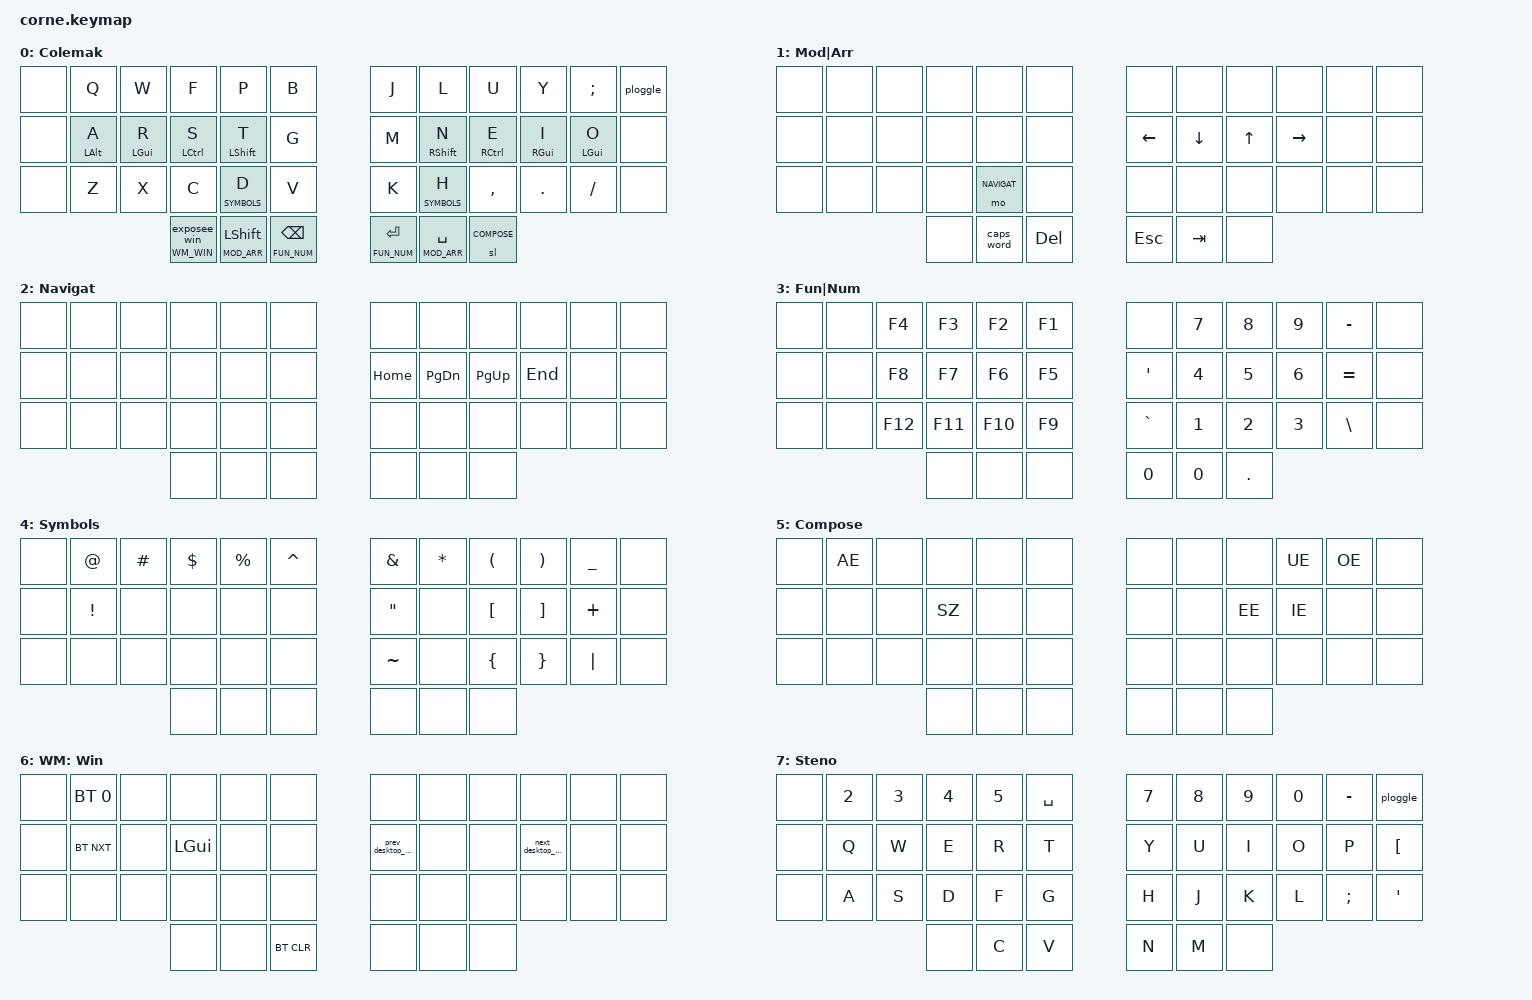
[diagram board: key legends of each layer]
/*
 * Copyright (c) 2020 The ZMK Contributors
 *
 * SPDX-License-Identifier: MIT
 */

#include <behaviors.dtsi>
#include <dt-bindings/zmk/keys.h>
#include <dt-bindings/zmk/bt.h>

// Layers
#define COLEMAK 0
#define MOD_ARR 1
#define NAVIGAT 2
#define FUN_NUM 3
#define SYMBOLS 4
#define COMPOSE 5
#define WM_WIN  6
#define STENO   7

// Keycodes
#define xxxxx &none

//  Layers
//    Left
#define LT_D &lt SYMBOLS D
#define LT_SFT &lsk MOD_ARR LSHFT
#define LT_BSPC &lt FUN_NUM BSPC
//    Right
#define LT_H &lt SYMBOLS H
#define LT_RET &lt FUN_NUM RET
#define LT_SPACE &lt MOD_ARR SPACE
#define LT_ESC &tyl COMPOSE ESC


&lt {
    quick-tap-ms = <300>;
};

&nice_view_spi {
    cs-gpios = <&pro_micro 1 GPIO_ACTIVE_HIGH>;
};

/ {
        macros {
            ZMK_MACRO(AE,
                wait-ms = <10>;
                tap-ms = <20>;
                bindings
                    = <&macro_press &kp RALT>
                    , <&macro_tap &kp Q>
                    , <&macro_release &kp RALT>
                    ;
            )

            ZMK_MACRO(SZ,
                wait-ms = <10>;
                tap-ms = <20>;
                bindings
                    = <&macro_press &kp RALT>
                    , <&macro_tap &kp S>
                    , <&macro_release &kp RALT>
                    ;
            )

            ZMK_MACRO(EE,
                wait-ms = <10>;
                tap-ms = <20>;
                bindings
                    = <&macro_press &kp RALT>
                    , <&macro_tap &kp E>
                    , <&macro_release &kp RALT>
                    ;
            )

            ZMK_MACRO(IE,
                wait-ms = <10>;
                tap-ms = <20>;
                bindings
                    = <&macro_press &kp RALT>
                    , <&macro_tap &kp I>
                    , <&macro_release &kp RALT>
                    ;
            )

            ZMK_MACRO(UE,
                wait-ms = <10>;
                tap-ms = <20>;
                bindings
                    = <&macro_press &kp RALT>
                    , <&macro_tap &kp Y>
                    , <&macro_release &kp RALT>
                    ;
            )

            ZMK_MACRO(OE,
                wait-ms = <10>;
                tap-ms = <20>;
                bindings
                    = <&macro_press &kp RALT>
                    , <&macro_tap &kp P>
                    , <&macro_release &kp RALT>
                    ;
            )

            ZMK_MACRO(ploggle,
                wait-ms = <10>;
                tap-ms = <20>;
                bindings
                    = <&tog STENO>
                    , <&macro_press &kp E &kp R &kp F &kp V &kp O &kp L>
                    , <&macro_release &kp E &kp R &kp F &kp V &kp O &kp L>
                    ;
            )

            exposee_win: wm_win_exposee {
                compatible = "zmk,behavior-macro";
                label = "Win10 Exposee";
                #binding-cells = <0>;
                wait-ms = <10>;
                tap-ms = <20>;
                bindings
                    = <&macro_press &kp LGUI>
                    , <&macro_tap &kp TAB>
                    , <&macro_release &kp LGUI>
                    ;
            };

            prev_desktop_win: wm_win_prev_desktop {
                compatible = "zmk,behavior-macro";
                label = "Win10 Go To Previous Desktop";
                #binding-cells = <0>;
                wait-ms = <10>;
                tap-ms = <20>;
                bindings
                    = <&macro_press &kp LCTRL>
                    , <&macro_press &kp LGUI>
                    , <&macro_tap &kp LEFT>
                    , <&macro_release &kp LGUI>
                    , <&macro_release &kp LCTRL>
                    ;
            };

            next_desktop_win: wm_win_next_desktop {
                compatible = "zmk,behavior-macro";
                label = "Win10 Go To Next Desktop";
                #binding-cells = <0>;
                wait-ms = <10>;
                tap-ms = <20>;
                bindings
                    = <&macro_press &kp LCTRL>
                    , <&macro_press &kp LGUI>
                    , <&macro_tap &kp RIGHT>
                    , <&macro_release &kp LGUI>
                    , <&macro_release &kp LCTRL>
                    ;
            };
        };

        behaviors {
            lhs: left_hand_shift {
                compatible = "zmk,behavior-hold-tap";
                label = "Left-Hand Shift";
                #binding-cells = <2>;
                tapping-term-ms = <160>;
                flavor = "balanced";
                bindings = <&kp>, <&kp>;
                hold-trigger-key-positions = <6 7 8 9 10 18 19 20 21 22 30 31 32 33 34 39 40 41>;    // <---[[right-hand keys]]
            };

            rhs: right_hand_shift {
                compatible = "zmk,behavior-hold-tap";
                label = "Right-Hand Shift";
                #binding-cells = <2>;
                tapping-term-ms = <160>;
                flavor = "balanced";
                bindings = <&kp>, <&kp>;
                hold-trigger-key-positions = <1 2 3 4 5 13 14 15 16 17 25 26 27 28 29 36 37 38>;    // <---[[left-hand keys]]
            };

            hrm: home_row_mods {
                compatible = "zmk,behavior-hold-tap";
                label = "Home Row Mods";
                #binding-cells = <2>;
                tapping-term-ms = <200>;
                quick-tap-ms = <0>;
                flavor = "tap-preferred";
                bindings = <&kp>, <&kp>;
            };

            lte: layer_tab_exposee {
                compatible = "zmk,behavior-hold-tap";
                label = "Layer-tap the exposee macro";
                #binding-cells = <2>;
                tapping-term-ms = <200>;
                bindings = <&mo>, <&exposee_win>;
            };

            lsk: layer_sticky_key {
                compatible = "zmk,behavior-hold-tap";
                label = "Layer-tap a sticky key";
                #binding-cells = <2>;
                tapping-term-ms = <200>;
                flavor = "tap-preferred";
                bindings = <&mo>, <&skq>;
            };

            skq: sticky_key_quick_release {
                compatible = "zmk,behavior-sticky-key";
                label = "Sticky key with quick release";
                #binding-cells = <1>;
                bindings = <&kp>;
                release-after-ms = <1000>;
                quick-release;
            };

            tyl: typing_layer {
                compatible = "zmk,behavior-hold-tap";
                label = "Prefer fluid typing of layered keys";
                #binding-cells = <2>;
                tapping-term-ms = <160>;
                flavor = "hold-preferred";
                bindings = <&mo>, <&kp>;
            };
        };

        keymap {
            compatible = "zmk,keymap";

            colemak {
                label = "Colemak";
                bindings = <
//             ------------------------------------------------------------------          -------------------------------------------------------------------------------
//             |     Q      |     W      |     F      |     P      |     B      |          |     J      |     L      |     U      |     Y      |     ;      |  PLOGGLE   |
//             |     A      |     R      |     S      |     T      |     G      |          |     M      |     N      |     E      |     I      |     O      |            |
//             |     Z      |     X      |     C      |     D      |     V      |          |     K      |     H      |     ,      |     .      |     /      |            |
//             --------------------------|     WM     |    BSP     |    TAB     |          |    ENT     |    SPC     |    ESC     |---------------------------------------
//                                       ----------------------------------------          ---------------------------------------
    xxxxx        &kp Q        &kp W        &kp F        &kp P        &kp B                  &kp J        &kp L        &kp U        &kp Y        &kp SEMI     &ploggle
    xxxxx        &hrm LALT A  &hrm LGUI R  &hrm LCTRL S &hrm LSHFT T &kp G                  &kp M        &hrm RSHFT N &hrm RCTRL E &hrm RGUI I  &hrm LGUI O  xxxxx
    xxxxx        &kp Z        &kp X        &kp C        LT_D         &kp V                  &kp K        LT_H         &kp COMMA    &kp DOT      &kp FSLH     xxxxx
                                           &lte WM_WIN 0 LT_SFT      LT_BSPC                LT_RET       LT_SPACE     &sl COMPOSE
                >;
            };

            mod_arr {
                label = "Mod|Arr";
                bindings = <
//             ------------------------------------------------------------------          ------------------------------------------------------------------
//             |            |            |            |            |            |          |            |            |            |            |            |
//             |            |            |            |   CAPS     |            |          |   LEFT     |    DOWN    |     UP     |   RIGHT    |            |
//             |            |            |            |   NAV      |            |          |            |            |            |            |            |
//             --------------------------|            |            |    DEL     |          |   ESC      |    TAB     |            |--------------------------
//                                       ----------------------------------------          ---------------------------------------
    xxxxx        &none        &none        &none        &none        &none                   &none        &none        &none        &none        &none        xxxxx
    xxxxx        &none        &none        &none        &none        &none                   &kp LEFT     &kp DOWN     &kp UP       &kp RIGHT    &none        xxxxx
    xxxxx        &none        &none        &none        &mo NAVIGAT  &none                   &none        &none        &none        &none        &none        xxxxx
                                           &none        &caps_word   &kp DEL                 &kp ESC      &kp TAB      &none
                >;
            };

            navigat {
                label = "Navigat";
                bindings = <
//             ------------------------------------------------------------------          ------------------------------------------------------------------
//             |            |            |            |            |            |          |            |            |            |            |            |
//             |            |            |            |            |            |          |    HOME    |   PG DN    |   PG UP    |    END     |            |
//             |            |            |            |            |            |          |            |            |            |            |            |
//             --------------------------|            |            |            |          |            |            |            |--------------------------
//                                       ----------------------------------------          ---------------------------------------
    xxxxx        &none        &none        &none        &none        &none                   &none        &none        &none        &none        &none        xxxxx
    xxxxx        &none        &none        &none        &none        &none                   &kp HOME     &kp PG_DN    &kp PG_UP    &kp END      &none        xxxxx
    xxxxx        &none        &none        &none        &none        &none                   &none        &none        &none        &none        &none        xxxxx
                                           &none        &none        &none                   &none        &none        &none
                >;
            };

            fun_num {
                label = "Fun|Num";
                bindings = <
//             ------------------------------------------------------------------          ------------------------------------------------------------------
//             |            |     F4     |     F3     |     F2     |     F1     |          |            |     7      |     8      |     9      |     -      |
//             |            |     F8     |     F7     |     F6     |     F5     |          |     '      |     4      |     5      |     6      |     =      |
//             |            |     F12    |     F11    |     F10    |     F9     |          |     `      |     1      |     2      |     3      |     \      |
//             --------------------------|            |            |            |          |     0      |     0      |     .      |--------------------------
//                                       ----------------------------------------          ---------------------------------------
    xxxxx        &none        &kp F4       &kp F3       &kp F2       &kp F1                  &none        &kp N7       &kp N8       &kp N9       &kp MINUS    xxxxx
    xxxxx        &none        &kp F8       &kp F7       &kp F6       &kp F5                  &kp SQT      &kp N4       &kp N5       &kp N6       &kp EQUAL    xxxxx
    xxxxx        &none        &kp F12      &kp F11      &kp F10      &kp F9                  &kp GRAVE    &kp N1       &kp N2       &kp N3       &kp BSLH     xxxxx
                                           &none        &none        &none                   &kp N0       &kp N0       &kp DOT
                >;
            };

            symbols {
                label = "Symbols";
                bindings = <
//             ------------------------------------------------------------------          ------------------------------------------------------------------
//             |     @      |     #      |     $      |     %      |     ^      |          |     &      |     *      |     (      |     )      |     _      |
//             |     !      |            |            |            |            |          |     "      |            |     [      |     ]      |     +      |
//             |            |            |            |            |            |          |     ~      |            |     {      |     }      |     |      |
//             --------------------------|            |            |            |          |            |            |            |--------------------------
//                                       ----------------------------------------          ---------------------------------------
    xxxxx        &kp AT       &kp HASH     &kp DLLR     &kp PRCNT    &kp CARET               &kp AMPS     &kp ASTRK    &kp LPAR     &kp RPAR     &kp UNDER    xxxxx
    xxxxx        &kp EXCL     &none        &none        &none        &none                   &kp DQT      &none        &kp LBKT     &kp RBKT     &kp PLUS     xxxxx
    xxxxx        &none        &none        &none        &none        &none                   &kp TILDE    &none        &kp LBRC     &kp RBRC     &kp PIPE     xxxxx
                                           &none        &none        &none                   &none        &none        &none
                >;
            };

            compose {
                label = "Compose";
                bindings = <
//             ------------------------------------------------------------------          ------------------------------------------------------------------
//             |     Ä      |            |            |            |            |          |            |            |            |     Ü      |     Ö      |
//             |            |            |     ß      |            |            |          |            |            |     É      |     Í      |            |
//             |            |            |            |            |            |          |            |            |            |            |            |
//             --------------------------|            |            |            |          |            |            |            |--------------------------
//                                       ----------------------------------------          ---------------------------------------
    xxxxx        &AE          &none        &none        &none        &none                   &none        &none        &none        &UE          &OE          xxxxx
    xxxxx        &none        &none        &SZ          &none        &none                   &none        &none        &EE          &IE          &none        xxxxx
    xxxxx        &none        &none        &none        &none        &none                   &none        &none        &none        &none        &none        xxxxx
                                           &none        &none        &none                   &none        &none        &none
                >;
            };

            wm_win {
                label = "WM: Win";
                bindings = <
//             ------------------------------------------------------------------          ------------------------------------------------------------------
//             |            |            |            |            |            |          |            |            |            |            |            |
//             |            |            |   START    |            |            |          |   PRV_D    |            |            |   NXT_D    |            |
//             |            |            |            |            |            |          |            |            |            |            |            |
//             --------------------------|            |            |            |          |            |            |            |--------------------------
//                                       ----------------------------------------          ---------------------------------------
    xxxxx        &bt BT_SEL 0 &none        &none        &none        &none                   &none        &none        &none        &none        &none        xxxxx
    xxxxx        &bt BT_NXT   &none        &kp LGUI     &none        &none                   &prev_desktop_win &none   &none        &next_desktop_win &none   xxxxx
    xxxxx        &none        &none        &none        &none        &none                   &none        &none        &none        &none        &none        xxxxx
                                           &none        &none        &bt BT_CLR              &none        &none        &none
                >;
            };

            steno {
                label = "Steno";
                bindings = <
//             ------------------------------------------------------------------          -------------------------------------------------------------------------------
//             |     2      |     3      |     4      |     5      | ARPEGGIATE |          |     7      |     8      |     9      |     0      |     -      |   PLOGGLE  |
//             |     Q      |     W      |     E      |     R      |     T      |          |     Y      |     U      |     I      |     O      |     P      |     [      |
//             |     A      |     S      |     D      |     F      |     G      |          |     H      |     J      |     K      |     L      |     ;      |     '      |
//             --------------------------|     C      |     V      |            |          |            |     N      |     M      |---------------------------------------
//                                       ----------------------------------------          ---------------------------------------
    xxxxx        &kp N2       &kp N3       &kp N4       &kp N5       &kp SPACE               &kp N7       &kp N8       &kp N9       &kp N0       &kp MINUS    &ploggle
    xxxxx        &kp Q        &kp W        &kp E        &kp R        &kp T                   &kp Y        &kp U        &kp I        &kp O        &kp P        &kp LBKT
    xxxxx        &kp A        &kp S        &kp D        &kp F        &kp G                   &kp H        &kp J        &kp K        &kp L        &kp SEMI     &kp SQT
                                           &none        &kp C        &kp V                   &kp N        &kp M        &none
                >;
            };
        };
//            <tmpl> {
//                label = "";
//                bindings = <
////             ------------------------------------------------------------------          ------------------------------------------------------------------
////             |            |            |            |            |            |          |            |            |            |            |            |
////             |            |            |            |            |            |          |            |            |            |            |            |
////             |            |            |            |            |            |          |            |            |            |            |            |
////             --------------------------|            |            |            |          |            |            |            |--------------------------
////                                       ----------------------------------------          ---------------------------------------
//    xxxxx        &none        &none        &none        &none        &none                   &none        &none        &none        &none        &none        xxxxx
//    xxxxx        &none        &none        &none        &none        &none                   &none        &none        &none        &none        &none        xxxxx
//    xxxxx        &none        &none        &none        &none        &none                   &none        &none        &none        &none        &none        xxxxx
//                                           &none        &none        &none                   &none        &none        &none
//                >;
//            };
//        };
};
